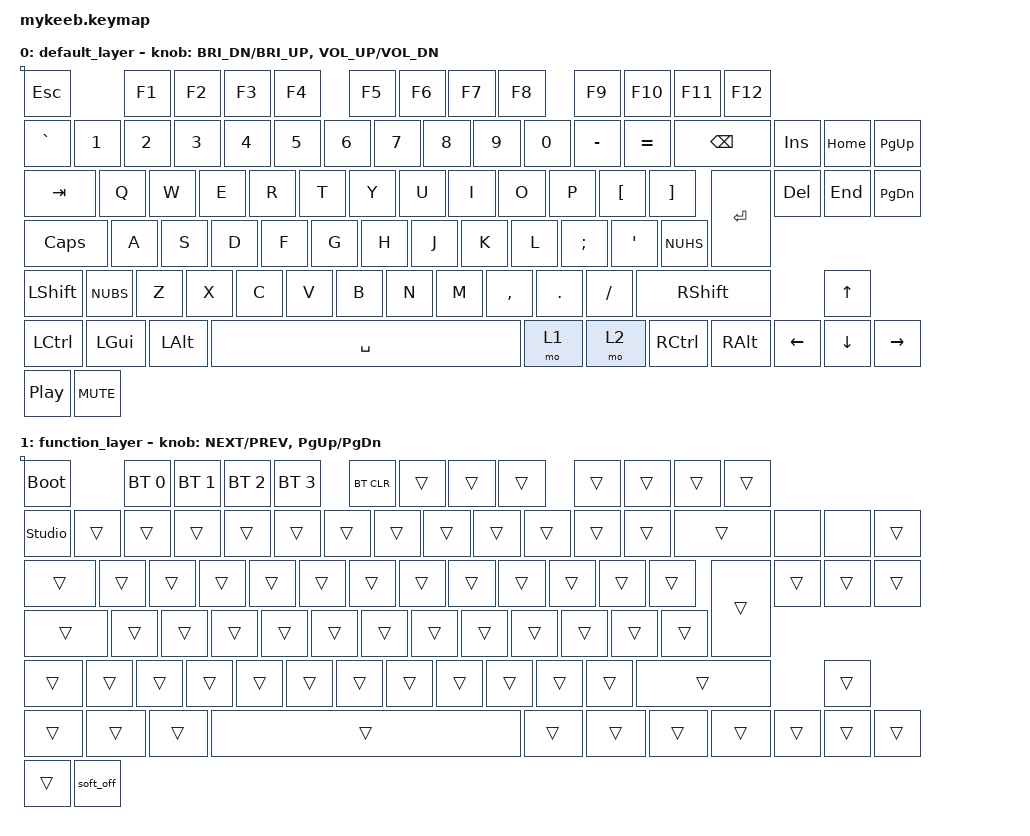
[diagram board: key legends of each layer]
#include <behaviors.dtsi>
#include <dt-bindings/zmk/keys.h>
#include <dt-bindings/zmk/bt.h>
#include <dt-bindings/zmk/ext_power.h>

/ {
    keymap {
        compatible = "zmk,keymap";

        default_layer {
            sensor-bindings = <&inc_dec_kp C_BRI_DN C_BRI_UP>, <&inc_dec_kp C_VOL_UP C_VOL_DN>;
            bindings = <
&kp ESC   &kp F1    &kp F2    &kp F3    &kp F4    &kp F5    &kp F6    &kp F7    &kp F8    &kp F9    &kp F10   &kp F11   &kp F12   &kp INS   &kp HOME
&kp GRAVE &kp N1    &kp N2    &kp N3    &kp N4    &kp N5    &kp N6    &kp N7    &kp N8    &kp N9    &kp N0    &kp MINUS &kp EQUAL &kp BSPC  &kp PG_UP
&kp TAB   &kp Q     &kp W     &kp E     &kp R     &kp T     &kp Y     &kp U     &kp I     &kp O     &kp P     &kp LBKT  &kp RBKT  &kp RET   &kp DEL
&kp CAPS  &kp A     &kp S     &kp D     &kp F     &kp G     &kp H     &kp J     &kp K     &kp L     &kp SEMI  &kp SQT   &kp NUHS  &kp END   &kp PG_DN
&kp LSHFT &kp NUBS  &kp Z     &kp X     &kp C     &kp V     &kp B     &kp N     &kp M     &kp COMMA &kp DOT   &kp FSLH  &kp RSHFT &none     &none
&kp LCTRL &kp LGUI  &kp LALT  &none     &none     &kp SPACE &none     &mo 1     &mo 2     &kp RCTRL &kp RALT &kp LEFT  &kp DOWN  &kp RIGHT &kp UP
&kp C_PP &kp C_MUTE
            >;
        };

        function_layer {
            sensor-bindings = <&inc_dec_kp C_NEXT C_PREV>, <&inc_dec_kp PG_UP PG_DN>;
            bindings = <
&bootloader &bt BT_SEL 0 &bt BT_SEL 1 &bt BT_SEL 2 &bt BT_SEL 3 &bt BT_CLR &trans &trans &trans &trans &trans &trans &trans &none &none
&studio_unlock    &trans    &trans    &trans    &trans    &trans    &trans    &trans    &trans    &trans    &trans    &trans    &trans    &trans    &trans
&trans    &trans    &trans    &trans    &trans    &trans    &trans    &trans    &trans    &trans    &trans    &trans    &trans    &trans     &trans
&trans    &trans    &trans    &trans    &trans    &trans    &trans    &trans    &trans    &trans    &trans    &trans    &trans    &trans    &trans
&trans    &trans    &trans    &trans    &trans    &trans    &trans    &trans    &trans    &trans    &trans    &trans    &trans    &none     &none
&trans    &trans    &trans    &none     &none     &trans    &none     &trans    &trans    &trans    &trans    &trans    &trans    &trans    &trans
&trans &soft_off
            >;
        };
    };
};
